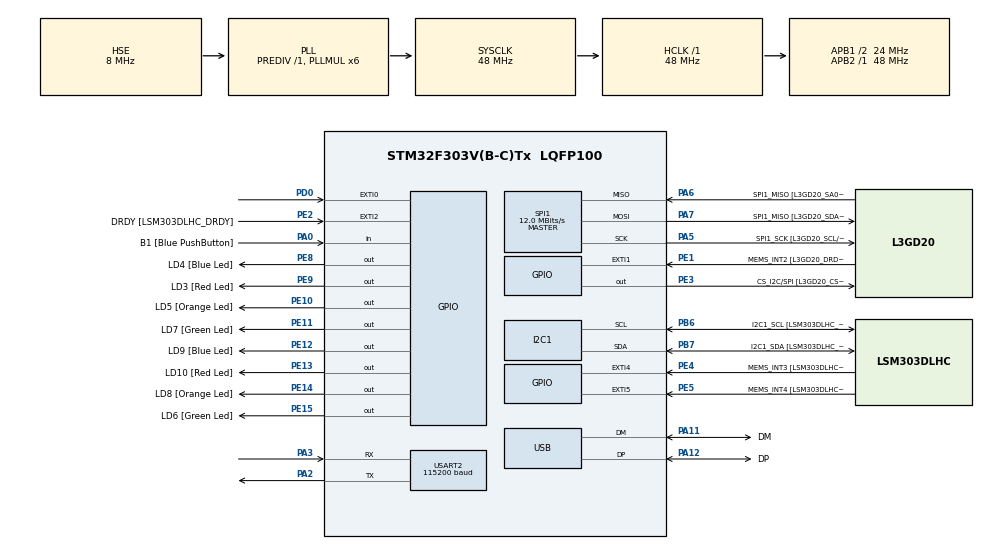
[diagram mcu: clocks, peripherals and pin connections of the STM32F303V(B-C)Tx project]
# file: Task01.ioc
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I2C1.Timing=0x00201D2B
I2C1.Timing-I2C=0x2000090E
Mcu.Family=STM32F3
Mcu.Name=STM32F303V(B-C)Tx
Mcu.Package=LQFP100
NVIC.EXTI0_IRQn=true\:0\:0\:false\:false\:true\:true\:true\:true
NVIC.PriorityGroup=NVIC_PRIORITYGROUP_0
NVIC.TIM2_IRQn=true\:0\:0\:false\:false\:true\:true\:true\:true
PA0.GPIO_Label=B1 [Blue PushButton]
PA0.Signal=GPIO_Input
PA11.GPIO_Label=DM
PA11.Mode=Device
PA11.Signal=USB_DM
PA12.GPIO_Label=DP
PA12.Mode=Device
PA12.Signal=USB_DP
PA13.GPIO_Label=SWDIO
PA13.Mode=Serial_Wire
PA13.Signal=SYS_JTMS-SWDIO
PA14.GPIO_Label=SWCLK
PA14.Mode=Serial_Wire
PA14.Signal=SYS_JTCK-SWCLK
PA2.Mode=Asynchronous
PA2.Signal=USART2_TX
PA3.Mode=Asynchronous
PA3.Signal=USART2_RX
PA5.GPIO_Label=SPI1_SCK [L3GD20_SCL/SPC]
PA5.Mode=Full_Duplex_Master
PA5.Signal=SPI1_SCK
PA6.GPIO_Label=SPI1_MISO [L3GD20_SA0/SDO]
PA6.Mode=Full_Duplex_Master
PA6.Signal=SPI1_MISO
PA7.GPIO_Label=SPI1_MISO [L3GD20_SDA/SDI/SDO]
PA7.Mode=Full_Duplex_Master
PA7.Signal=SPI1_MOSI
PB3.GPIO_Label=SWO
PB3.Signal=SYS_JTDO-TRACESWO
PB6.GPIO_Label=I2C1_SCL [LSM303DLHC_SCL]
PB6.GPIO_Pu=GPIO_PULLUP
PB6.Mode=I2C
PB6.Signal=I2C1_SCL
PB7.GPIO_Label=I2C1_SDA [LSM303DLHC_SDA]
PB7.GPIO_Pu=GPIO_PULLUP
PB7.Mode=I2C
PB7.Signal=I2C1_SDA
PC14-OSC32_IN.GPIO_Label=OSC32_IN
PC14-OSC32_IN.Signal=RCC_OSC32_IN
PC15-OSC32_OUT.GPIO_Label=OSC32_OUT
PC15-OSC32_OUT.Signal=RCC_OSC32_OUT
PD0.Signal=GPXTI0
PE1.GPIO_Label=MEMS_INT2 [L3GD20_DRDY/INT2]
PE1.GPIO_ModeDefaultEXTI=GPIO_MODE_EVT_RISING
PE1.Signal=GPXTI1
PE10.GPIO_Label=LD5 [Orange Led]
PE10.Signal=GPIO_Output
PE11.GPIO_Label=LD7 [Green Led]
PE11.Signal=GPIO_Output
PE12.GPIO_Label=LD9 [Blue Led]
PE12.Signal=GPIO_Output
PE13.GPIO_Label=LD10 [Red Led]
PE13.Signal=GPIO_Output
PE14.GPIO_Label=LD8 [Orange Led]
PE14.Signal=GPIO_Output
PE15.GPIO_Label=LD6 [Green Led]
PE15.Signal=GPIO_Output
PE2.GPIO_Label=DRDY [LSM303DLHC_DRDY]
PE2.GPIO_ModeDefaultEXTI=GPIO_MODE_EVT_RISING
PE2.Signal=GPXTI2
PE3.GPIO_Label=CS_I2C/SPI [L3GD20_CS_I2C/SPI]
PE3.Signal=GPIO_Output
PE4.GPIO_Label=MEMS_INT3 [LSM303DLHC_INT1]
PE4.GPIO_ModeDefaultEXTI=GPIO_MODE_EVT_RISING
PE4.Signal=GPXTI4
PE5.GPIO_Label=MEMS_INT4 [LSM303DLHC_INT2]
PE5.GPIO_ModeDefaultEXTI=GPIO_MODE_EVT_RISING
PE5.Signal=GPXTI5
PE8.GPIO_Label=LD4 [Blue Led]
PE8.Signal=GPIO_Output
PE9.GPIO_Label=LD3 [Red Led]
PE9.Signal=GPIO_Output
PF0-OSC_IN.GPIO_Label=OSC_IN
PF0-OSC_IN.Mode=HSE-External-Clock-Source
PF0-OSC_IN.Signal=RCC_OSC_IN
PF1-OSC_OUT.GPIO_Label=OSC_OUT
PF1-OSC_OUT.Signal=RCC_OSC_OUT
ProjectManager.HeapSize=0x200
ProjectManager.StackSize=0x400
ProjectManager.TargetToolchain=CMake
RCC.AHBFreq_Value=48000000
RCC.APB1CLKDivider=RCC_HCLK_DIV2
RCC.APB1Freq_Value=24000000
RCC.APB1TimFreq_Value=48000000
RCC.APB2Freq_Value=48000000
RCC.APB2TimFreq_Value=48000000
RCC.CortexFreq_Value=48000000
RCC.HCLKFreq_Value=48000000
RCC.HSE_VALUE=8000000
RCC.HSI_VALUE=8000000
RCC.LSE_VALUE=32768
RCC.PLLMUL=RCC_PLL_MUL6
RCC.SYSCLKFreq_VALUE=48000000
RCC.SYSCLKSourceVirtual=RCC_SYSCLKSOURCE_PLLCLK
RCC.USBFreq_Value=48000000
SPI1.BaudRatePrescaler=SPI_BAUDRATEPRESCALER_4
SPI1.BaudRatePrescaler-Full_Duplex_Master=SPI_BAUDRATEPRESCALER_2
SPI1.CalculateBaudRate=12.0 MBits/s
SPI1.CalculateBaudRate-Full_Duplex_Master=24.0 MBits/s
SPI1.Direction=SPI_DIRECTION_2LINES
SPI1.Mode=SPI_MODE_MASTER
SPI1.Mode-Full_Duplex_Master=SPI_MODE_MASTER
SPI1.VirtualType=VM_MASTER
TIM2.Prescaler=9
USART2.BaudRate=115200
USART2.VirtualMode-Asynchronous=VM_ASYNC
VP_TIM2_VS_ClockSourceINT.Mode=Internal
board=STM32F3DISCOVERY

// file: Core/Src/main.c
/* USER CODE BEGIN Header */
/**
  ******************************************************************************
  * @file           : main.c
  * @brief          : Main program body
  ******************************************************************************
  * @attention
  *
  * Copyright (c) 2026 STMicroelectronics.
  * All rights reserved.
  *
  * This software is licensed under terms that can be found in the LICENSE file
  * in the root directory of this software component.
  * If no LICENSE file comes with this software, it is provided AS-IS.
  *
  ******************************************************************************
  */
/* USER CODE END Header */
#include "main.h"
#include "stdio.h"
#include "string.h"

I2C_HandleTypeDef hi2c1;

SPI_HandleTypeDef hspi1;

TIM_HandleTypeDef htim2;

UART_HandleTypeDef huart2;

PCD_HandleTypeDef hpcd_USB_FS;

void SystemClock_Config(void);
static void MX_GPIO_Init(void);
static void MX_I2C1_Init(void);
static void MX_SPI1_Init(void);
static void MX_USB_PCD_Init(void);
static void MX_TIM2_Init(void);
static void MX_USART2_UART_Init(void);

/* USER CODE BEGIN 0 */
int interrupt_count = 0;
uint32_t arr[20];
int print = 0;
/* Private user code ---------------------------------------------------------*/
/* USER CODE BEGIN 0 */
void HAL_GPIO_EXTI_Callback(uint16_t GPIO_Pin){
    if (GPIO_Pin == GPIO_PIN_0) {

        uint32_t captured = __HAL_TIM_GET_COUNTER(&htim2);
        interrupt_count++;

        if (interrupt_count == 1){
            __HAL_TIM_SET_COUNTER(&htim2, 0);
            HAL_TIM_Base_Start(&htim2);
        }

        if ((interrupt_count > 1) && (interrupt_count < 22)){
            arr[interrupt_count - 2] = captured;
            __HAL_TIM_SET_COUNTER(&htim2, 0);
        }

        if (interrupt_count == 22){
            print = 1;
            interrupt_count = 0;
        }
    }
}
/* USER CODE END 0 */

int main(void)
{

  /* MCU Configuration--------------------------------------------------------*/

  /* Reset of all peripherals, Initializes the Flash interface and the Systick. */
  HAL_Init();

  /* Configure the system clock */
  SystemClock_Config();

  /* Initialize all configured peripherals */
  MX_GPIO_Init();
  MX_I2C1_Init();
  MX_SPI1_Init();
  MX_USB_PCD_Init();
  MX_TIM2_Init();
  MX_USART2_UART_Init();

  /* Infinite loop */
  /* USER CODE BEGIN WHILE */
  while (1){
    uint32_t sum = 0;

    if (print == 1){
        for (int i = 0; i < 20; i++){
            sum += arr[i];
        }
        uint32_t avg = sum / 20;
        double freq = 48000000.0 / avg;
        freq = freq/10;
        char buf[50];
        sprintf(buf, "Frequency: %.2f Hz\r\n", freq);
        HAL_UART_Transmit(&huart2, (uint8_t*)buf, strlen(buf), HAL_MAX_DELAY);

        print = 0;
        interrupt_count = 0;
    }
    HAL_Delay(1000);
  }
  /* USER CODE END 3 */
}

void SystemClock_Config(void)
{
  RCC_OscInitTypeDef RCC_OscInitStruct = {0};
  RCC_ClkInitTypeDef RCC_ClkInitStruct = {0};
  RCC_PeriphCLKInitTypeDef PeriphClkInit = {0};

  /** Initializes the RCC Oscillators according to the specified parameters
  * in the RCC_OscInitTypeDef structure.
  */
  RCC_OscInitStruct.OscillatorType = RCC_OSCILLATORTYPE_HSI|RCC_OSCILLATORTYPE_HSE;
  RCC_OscInitStruct.HSEState = RCC_HSE_BYPASS;
  RCC_OscInitStruct.HSEPredivValue = RCC_HSE_PREDIV_DIV1;
  RCC_OscInitStruct.HSIState = RCC_HSI_ON;
  RCC_OscInitStruct.HSICalibrationValue = RCC_HSICALIBRATION_DEFAULT;
  RCC_OscInitStruct.PLL.PLLState = RCC_PLL_ON;
  RCC_OscInitStruct.PLL.PLLSource = RCC_PLLSOURCE_HSE;
  RCC_OscInitStruct.PLL.PLLMUL = RCC_PLL_MUL6;
  if (HAL_RCC_OscConfig(&RCC_OscInitStruct) != HAL_OK)
  {
    Error_Handler();
  }

  /** Initializes the CPU, AHB and APB buses clocks
  */
  RCC_ClkInitStruct.ClockType = RCC_CLOCKTYPE_HCLK|RCC_CLOCKTYPE_SYSCLK
                              |RCC_CLOCKTYPE_PCLK1|RCC_CLOCKTYPE_PCLK2;
  RCC_ClkInitStruct.SYSCLKSource = RCC_SYSCLKSOURCE_PLLCLK;
  RCC_ClkInitStruct.AHBCLKDivider = RCC_SYSCLK_DIV1;
  RCC_ClkInitStruct.APB1CLKDivider = RCC_HCLK_DIV2;
  RCC_ClkInitStruct.APB2CLKDivider = RCC_HCLK_DIV1;

  if (HAL_RCC_ClockConfig(&RCC_ClkInitStruct, FLASH_LATENCY_1) != HAL_OK)
  {
    Error_Handler();
  }
  PeriphClkInit.PeriphClockSelection = RCC_PERIPHCLK_USB|RCC_PERIPHCLK_USART2
                              |RCC_PERIPHCLK_I2C1;
  PeriphClkInit.Usart2ClockSelection = RCC_USART2CLKSOURCE_PCLK1;
  PeriphClkInit.I2c1ClockSelection = RCC_I2C1CLKSOURCE_HSI;
  PeriphClkInit.USBClockSelection = RCC_USBCLKSOURCE_PLL;
  if (HAL_RCCEx_PeriphCLKConfig(&PeriphClkInit) != HAL_OK)
  {
    Error_Handler();
  }
}

static void MX_I2C1_Init(void)
{

  hi2c1.Instance = I2C1;
  hi2c1.Init.Timing = 0x00201D2B;
  hi2c1.Init.OwnAddress1 = 0;
  hi2c1.Init.AddressingMode = I2C_ADDRESSINGMODE_7BIT;
  hi2c1.Init.DualAddressMode = I2C_DUALADDRESS_DISABLE;
  hi2c1.Init.OwnAddress2 = 0;
  hi2c1.Init.OwnAddress2Masks = I2C_OA2_NOMASK;
  hi2c1.Init.GeneralCallMode = I2C_GENERALCALL_DISABLE;
  hi2c1.Init.NoStretchMode = I2C_NOSTRETCH_DISABLE;
  if (HAL_I2C_Init(&hi2c1) != HAL_OK)
  {
    Error_Handler();
  }

  /** Configure Analogue filter
  */
  if (HAL_I2CEx_ConfigAnalogFilter(&hi2c1, I2C_ANALOGFILTER_ENABLE) != HAL_OK)
  {
    Error_Handler();
  }

  /** Configure Digital filter
  */
  if (HAL_I2CEx_ConfigDigitalFilter(&hi2c1, 0) != HAL_OK)
  {
    Error_Handler();
  }

}

static void MX_SPI1_Init(void)
{

  /* SPI1 parameter configuration*/
  hspi1.Instance = SPI1;
  hspi1.Init.Mode = SPI_MODE_MASTER;
  hspi1.Init.Direction = SPI_DIRECTION_2LINES;
  hspi1.Init.DataSize = SPI_DATASIZE_4BIT;
  hspi1.Init.CLKPolarity = SPI_POLARITY_LOW;
  hspi1.Init.CLKPhase = SPI_PHASE_1EDGE;
  hspi1.Init.NSS = SPI_NSS_SOFT;
  hspi1.Init.BaudRatePrescaler = SPI_BAUDRATEPRESCALER_4;
  hspi1.Init.FirstBit = SPI_FIRSTBIT_MSB;
  hspi1.Init.TIMode = SPI_TIMODE_DISABLE;
  hspi1.Init.CRCCalculation = SPI_CRCCALCULATION_DISABLE;
  hspi1.Init.CRCPolynomial = 7;
  hspi1.Init.CRCLength = SPI_CRC_LENGTH_DATASIZE;
  hspi1.Init.NSSPMode = SPI_NSS_PULSE_ENABLE;
  if (HAL_SPI_Init(&hspi1) != HAL_OK)
  {
    Error_Handler();
  }

}

static void MX_TIM2_Init(void)
{

  TIM_ClockConfigTypeDef sClockSourceConfig = {0};
  TIM_MasterConfigTypeDef sMasterConfig = {0};

  htim2.Instance = TIM2;
  htim2.Init.Prescaler = 9;
  htim2.Init.CounterMode = TIM_COUNTERMODE_UP;
  htim2.Init.Period = 4294967295;
  htim2.Init.ClockDivision = TIM_CLOCKDIVISION_DIV1;
  htim2.Init.AutoReloadPreload = TIM_AUTORELOAD_PRELOAD_DISABLE;
  if (HAL_TIM_Base_Init(&htim2) != HAL_OK)
  {
    Error_Handler();
  }
  sClockSourceConfig.ClockSource = TIM_CLOCKSOURCE_INTERNAL;
  if (HAL_TIM_ConfigClockSource(&htim2, &sClockSourceConfig) != HAL_OK)
  {
    Error_Handler();
  }
  sMasterConfig.MasterOutputTrigger = TIM_TRGO_RESET;
  sMasterConfig.MasterSlaveMode = TIM_MASTERSLAVEMODE_DISABLE;
  if (HAL_TIMEx_MasterConfigSynchronization(&htim2, &sMasterConfig) != HAL_OK)
  {
    Error_Handler();
  }

}

static void MX_USART2_UART_Init(void)
{

  huart2.Instance = USART2;
  huart2.Init.BaudRate = 115200;
  huart2.Init.WordLength = UART_WORDLENGTH_8B;
  huart2.Init.StopBits = UART_STOPBITS_1;
  huart2.Init.Parity = UART_PARITY_NONE;
  huart2.Init.Mode = UART_MODE_TX_RX;
  huart2.Init.HwFlowCtl = UART_HWCONTROL_NONE;
  huart2.Init.OverSampling = UART_OVERSAMPLING_16;
  huart2.Init.OneBitSampling = UART_ONE_BIT_SAMPLE_DISABLE;
  huart2.AdvancedInit.AdvFeatureInit = UART_ADVFEATURE_NO_INIT;
  if (HAL_UART_Init(&huart2) != HAL_OK)
  {
    Error_Handler();
  }

}

static void MX_USB_PCD_Init(void)
{

  hpcd_USB_FS.Instance = USB;
  hpcd_USB_FS.Init.dev_endpoints = 8;
  hpcd_USB_FS.Init.speed = PCD_SPEED_FULL;
  hpcd_USB_FS.Init.phy_itface = PCD_PHY_EMBEDDED;
  hpcd_USB_FS.Init.low_power_enable = DISABLE;
  hpcd_USB_FS.Init.battery_charging_enable = DISABLE;
  if (HAL_PCD_Init(&hpcd_USB_FS) != HAL_OK)
  {
    Error_Handler();
  }

}

static void MX_GPIO_Init(void)
{
  GPIO_InitTypeDef GPIO_InitStruct = {0};

  /* GPIO Ports Clock Enable */
  __HAL_RCC_GPIOE_CLK_ENABLE();
  __HAL_RCC_GPIOC_CLK_ENABLE();
  __HAL_RCC_GPIOF_CLK_ENABLE();
  __HAL_RCC_GPIOA_CLK_ENABLE();
  __HAL_RCC_GPIOD_CLK_ENABLE();
  __HAL_RCC_GPIOB_CLK_ENABLE();

  /*Configure GPIO pin Output Level */
  HAL_GPIO_WritePin(GPIOE, CS_I2C_SPI_Pin|LD4_Pin|LD3_Pin|LD5_Pin
                          |LD7_Pin|LD9_Pin|LD10_Pin|LD8_Pin
                          |LD6_Pin, GPIO_PIN_RESET);

  /*Configure GPIO pins : DRDY_Pin MEMS_INT3_Pin MEMS_INT4_Pin MEMS_INT2_Pin */
  GPIO_InitStruct.Pin = DRDY_Pin|MEMS_INT3_Pin|MEMS_INT4_Pin|MEMS_INT2_Pin;
  GPIO_InitStruct.Mode = GPIO_MODE_EVT_RISING;
  GPIO_InitStruct.Pull = GPIO_NOPULL;
  HAL_GPIO_Init(GPIOE, &GPIO_InitStruct);

  /*Configure GPIO pins : CS_I2C_SPI_Pin LD4_Pin LD3_Pin LD5_Pin
                           LD7_Pin LD9_Pin LD10_Pin LD8_Pin
                           LD6_Pin */
  GPIO_InitStruct.Pin = CS_I2C_SPI_Pin|LD4_Pin|LD3_Pin|LD5_Pin
                          |LD7_Pin|LD9_Pin|LD10_Pin|LD8_Pin
                          |LD6_Pin;
  GPIO_InitStruct.Mode = GPIO_MODE_OUTPUT_PP;
  GPIO_InitStruct.Pull = GPIO_NOPULL;
  GPIO_InitStruct.Speed = GPIO_SPEED_FREQ_LOW;
  HAL_GPIO_Init(GPIOE, &GPIO_InitStruct);

  /*Configure GPIO pin : B1_Pin */
  GPIO_InitStruct.Pin = B1_Pin;
  GPIO_InitStruct.Mode = GPIO_MODE_INPUT;
  GPIO_InitStruct.Pull = GPIO_NOPULL;
  HAL_GPIO_Init(B1_GPIO_Port, &GPIO_InitStruct);

  /*Configure GPIO pin : PD0 */
  GPIO_InitStruct.Pin = GPIO_PIN_0;
  GPIO_InitStruct.Mode = GPIO_MODE_IT_RISING;
  GPIO_InitStruct.Pull = GPIO_NOPULL;
  HAL_GPIO_Init(GPIOD, &GPIO_InitStruct);

  /* EXTI interrupt init*/
  HAL_NVIC_SetPriority(EXTI0_IRQn, 0, 0);
  HAL_NVIC_EnableIRQ(EXTI0_IRQn);

  /* USER CODE BEGIN MX_GPIO_Init_2 */
  HAL_NVIC_SetPriority(EXTI0_IRQn, 0, 0);
  HAL_NVIC_EnableIRQ(EXTI0_IRQn);
  /* USER CODE END MX_GPIO_Init_2 */
}

void Error_Handler(void)
{
  __disable_irq();
  while (1)
  {
  }
}
